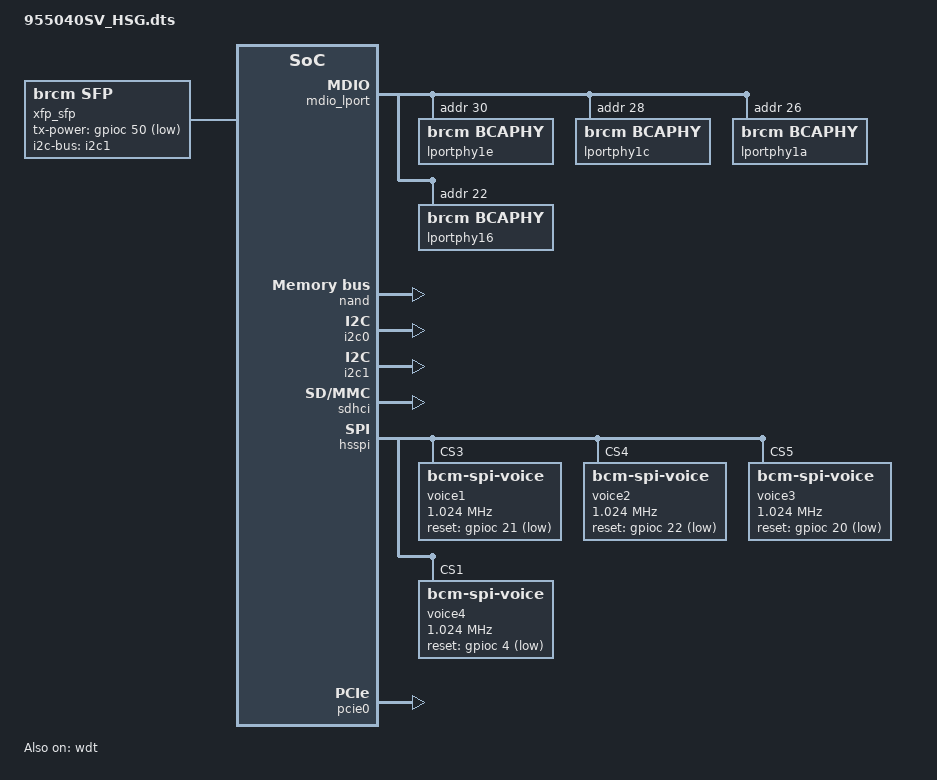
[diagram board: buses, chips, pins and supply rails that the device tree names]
#include "inc/55040.dtsi"

/ {
    xfp_sfp: xfp_sfp {
        pinctrl-names = "tx-sd";
        pinctrl-0 = <&a_rogue_onu_in_pin_56>;
        compatible = "brcm,sfp";
        i2c-bus = <&i2c1>;
        tx-power-gpio = <&gpioc 50 GPIO_ACTIVE_LOW>;
    };

    wan_serdes {
            compatible = "brcm,pon-drv";
            trx = <&xfp_sfp>;
            pon-led = <&led8>;
            alarm-led = <&led5>;
    };
};

&mdio_lport {
        bus-type = "6858_LPORT";

        #address-cells = <1>;
        #size-cells = <0>;

        lportphy5:5 {
                status = "okay";
        };

        lportphy1e:1e {
                compatible = "brcm,bcaphy";
                phy-type = "EXT3";
                reg = <0x1e>;
                caps-no-hdx;
                status = "okay";
        };

        lportphy1c:1c {
                compatible = "brcm,bcaphy";
                phy-type = "EXT3";
                reg = <0x1c>;
                caps-no-hdx;
                status = "okay";
        };

        lportphy1a:1a {
                compatible = "brcm,bcaphy";
                phy-type = "EXT3";
                reg = <0x1a>;
                caps-no-hdx;
                status = "okay";
        };

        lportphy16:16 {
                compatible = "brcm,bcaphy";
                phy-type = "EXT3";
                reg = <0x16>;
                caps-no-hdx;
                status = "okay";
        };
};

&switch0 {
        pinctrl-names = "default", "rgmii3";
        pinctrl-0 = <&lport_m_mdc_pin_98 &lport_m_mdio_pin_99 &rgmii3_pins>;
        pinctrl-1 = <&rgmii3_pins>;

        /delete-node/ ports;
        ports {
                #address-cells = <1>;
                #size-cells = <0>;

                port0@0 {
                        reg = <0>;
                        mac-type = "LPORT";
                        phy-handle = <&lportphy1e>;
                        phy-mode = "hsgmii";
                };

                port1@1 {
                        reg = <1>;
                        mac-type = "LPORT";
                        phy-handle = <&lportphy1c>;
                        phy-mode = "hsgmii";
                };

                port2@2 {
                        reg = <2>;
                        mac-type = "LPORT";
                        phy-handle = <&lportphy1a>;
                        phy-mode = "hsgmii";
                };

                port3@3 {
                        reg = <3>;
                        mac-type = "LPORT";
                        phy-handle = <&lportphy16>;
                        phy-mode = "hsgmii";
                };

                port4@4 {
                        reg = <4>;
                        mac-type = "LPORT";
                        phy-handle = <&lportphy5>;
                        phy-mode = "rgmii";
                        mii-pinctrl-state = "rgmii3";
                        tx-delay;
                };
        };
};

&led_ctrl {
    pinctrl-names = "default";
    pinctrl-0 = <&b_ser_led_clk_pin_30 &b_ser_led_data_pin_29 &b_ser_led_mask_pin_31>;
    serial-shifters-installed = <3>;

    led0: sw_led-bit_0 {
              active_low; 
              brightness = <0>;
              flash_rate = <0>;
              status = "okay";
          };
    led1: sw_led-bit_1 {
              active_low; 
              brightness = <0>;
              flash_rate = <0>;
              status = "okay";
          };
    led2: sw_led-bit_2 {
              active_low; 
              brightness = <255>;
              flash_rate = <0>;
              status = "okay";
              label = "WAN";
          };
    led3: sw_led-bit_3 {
              active_low; 
              brightness = <0>;
              flash_rate = <0>;
              status = "okay";
          };
    led4: sw_led-bit_4 {
              active_low; 
              brightness = <0>;
              flash_rate = <0>;
              status = "okay";
          };
    led5: sw_led-bit_5 {
              active_low; 
              brightness = <255>;
              flash_rate = <0>;
              status = "okay";
              label = "OpticalLinkFail";
          };
    led6: sw_led-bit_6 {
              active_low; 
              brightness = <0>;
              flash_rate = <0>;
              status = "okay";
          };
    led7: sw_led-bit_7 {
              active_low; 
              brightness = <0>;
              flash_rate = <0>;
              status = "okay";
          };

    led8: sw_led-bit_8 {
              active_low; 
              brightness = <255>;
              flash_rate = <0>;
              status = "okay";
              label = "PON";
          };
};

&legacy_leds {
    wan-data-led = <&led2>;
};

&nand {
	status = "okay";
};
&wdt {
	status = "okay";
};
&i2c0 {
    status = "okay";
};
&i2c1 {
    pinctrl-0 = <&i2c_2_scl_pin_23 &i2c_2_sda_pin_24>;
    pinctrl-names = "default";
    status = "okay";
};

&sdhci {
	status = "okay";
};
&hsspi {
	status = "okay";

    voice1 {
        pinctrl-0 = <&a_spim_ss3_b_pin_13>;
        pinctrl-names = "default";
        compatible = "bcm-spi-voice";
        reg = <3>; /* chip select 3 */
        spi-max-frequency = <1024000>;
        reset-gpio = <&gpioc 21 GPIO_ACTIVE_LOW>;
    };

    voice2 {
        pinctrl-0 = <&a_spim_ss4_b_pin_12>;
        pinctrl-names = "default";
        compatible = "bcm-spi-voice";
        reg = <4>; /* chip select 4 */
        spi-max-frequency = <1024000>;
        reset-gpio = <&gpioc 22 GPIO_ACTIVE_LOW>;
    };

    voice3 {
        pinctrl-0 = <&a_spim_ss5_b_pin_11>;
        pinctrl-names = "default";
        compatible = "bcm-spi-voice";
        reg = <5>; /* chip select 5 */
        spi-max-frequency = <1024000>;
        reset-gpio = <&gpioc 20 GPIO_ACTIVE_LOW>;
    };

    voice4 {
        pinctrl-0 = <&spim_ss1_b_pin_106>;
        pinctrl-names = "default";
        compatible = "bcm-spi-voice";
        reg = <1>; /* chip select 1 */
        spi-max-frequency = <1024000>;
        reset-gpio = <&gpioc 4 GPIO_ACTIVE_LOW>;
    };

    voice7 {
        pinctrl-0 = <&a_pcm_sdin_pin_0 &a_pcm_sdout_pin_1 &a_pcm_clk_pin_2 &a_pcm_fs_pin_3>;
        pinctrl-names = "default";
    };
};

&pcie0 {
	status = "okay";
};
